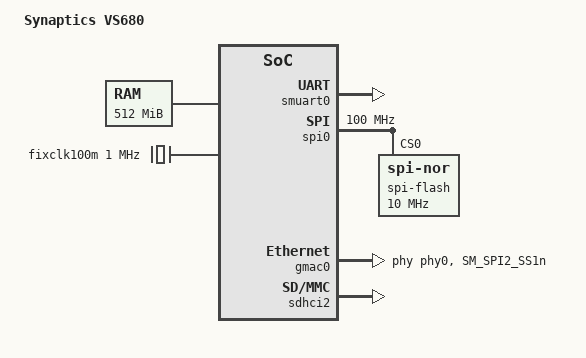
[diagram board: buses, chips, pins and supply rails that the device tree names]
/* SPDX-License-Identifier: GPL-2.0+ */
/*
 * Copyright (C) 2019 Synaptics Incorporated
 *
 * Author: Shaojun Feng <Shaojun.Feng@synaptics.com>
 *
 */

/dts-v1/;

#include "vs680.dtsi"

/ {
	model = "Synaptics VS680";
	compatible = "Synaptics,vs680", "Synaptics,asserial";

	memory {
		device_type = "memory";
		reg = <0 0 0 0x20000000>;
	};

	chosen {
                stdout-path = &smuart0;
        };

	fixclk100m: fixclk100m {
                compatible = "fixed-clock";
                #clock-cells = <0>;
                clock-frequency = <1000000>;
        };

};

&sysmgr_pinctrl {
	gmac0_pmux: gmac0-pmux {
		groups = "SM_SPI2_SS1n";
		function = "gpio";
	};
};

&pinctrl {
	emmc_pmux: emmc-pmux {
		groups = "NAND_IO0", "NAND_IO1", "NAND_IO2", "NAND_IO3", "NAND_IO4", "NAND_IO5", "ND_IO6", "NAND_IO7", "NAND_ALE", "NAND_CLE", "NAND_WPn";
		function = "emmc";
	};

};

&CPU_SLEEP_0 {
	status = "disabled";
};

&smuart0 {
	status = "okay";
};

&spi0 {
	status = "okay";
	max-write-size = <128>;
	clock-frequency = <100000000>;
	clocks = <&fixclk100m>;
	spi-flash@0 {
		#address-cells = <1>;
		#size-cells = <1>;
		compatible = "jedec,spi-nor";
		reg = <0>;
		memory-map = <0x0 0xf0000000 0x0 0x4000000>;
		spi-max-frequency = <10000000>;
        };
};

&phy0 {
	reg = <0>;
};

&gmac0 {
	status = "okay";
	max-speed = <100>;
	pinctrl-names = "default";
	clocks = <&fixclk100m>;
	pinctrl-0 = <&gmac0_pmux>;
	phy-handle = <&phy0>;
	snps,reset-active-low;
	snps,reset-delays-us = <0 10000 0>;
};

&sdhci2 {
/*
	pinctrl-0 = <&emmc_pmux>;
	pinctrl-names = "default";
*/
	status = "okay";
};
